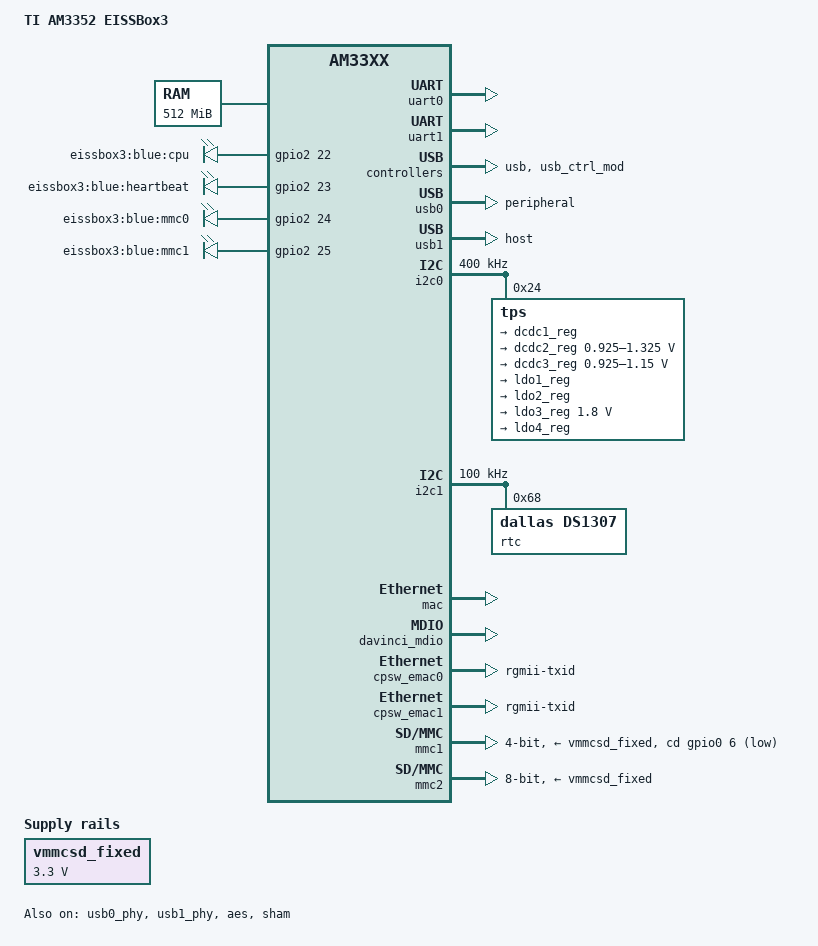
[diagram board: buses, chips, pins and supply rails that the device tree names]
/*
 * Copyright (C) 2012 Texas Instruments Incorporated - http://www.ti.com/
 *
 * This program is free software; you can redistribute it and/or modify
 * it under the terms of the GNU General Public License version 2 as
 * published by the Free Software Foundation.
 */
/dts-v1/;

#include "am33xx.dtsi"

/* YK - EISSBox3 is not a bone. No Cape Manager
 * Everything is in this file
#include "am335x-bone-common.dtsi"
*/

/ {
	model = "TI AM3352 EISSBox3";
	compatible = "ti,am335x-bone", "ti,am33xx";
	
	cpus {
		cpu@0 {
			cpu0-supply = <&dcdc2_reg>;
			operating-points = <
				/* kHz    uV */
				1000000 1350000
				800000  1300000
				720000  1285000
				600000  1225000
				500000  1125000
				275000  1125000
			>;
		};
	};
	
	chosen {
		stdin-path = &uart0;
		stdout-path = &uart0;
		/* tick-timer = &timer2; */
	};

	memory {
		device_type = "memory";
		reg = <0x80000000 0x20000000>; /* 512 MB */
	};

	leds {
		pinctrl-names = "default";
		pinctrl-0 = <&led_pins>;

		compatible = "gpio-leds";

		led0 {
			label = "eissbox3:blue:cpu";
			gpios = <&gpio2 22 GPIO_ACTIVE_HIGH>;
			linux,default-trigger = "cpu0";
			default-state = "on";
		};

		led1 {
			label = "eissbox3:blue:heartbeat";
			gpios = <&gpio2 23 GPIO_ACTIVE_HIGH>;
			linux,default-trigger = "heartbeat";
			default-state = "on";
		};

		led2 {
			label = "eissbox3:blue:mmc0";
			gpios = <&gpio2 24 GPIO_ACTIVE_HIGH>;
			linux,default-trigger = "mmc0";
			default-state = "on";
		};

		led3 {
			label = "eissbox3:blue:mmc1";
			gpios = <&gpio2 25 GPIO_ACTIVE_HIGH>;
			linux,default-trigger = "mmc1";
			default-state = "on";
		};
	};

	vmmcsd_fixed: fixedregulator@0 {
		compatible = "regulator-fixed";
		regulator-name = "vmmcsd_fixed";
		regulator-min-microvolt = <3300000>;
		regulator-max-microvolt = <3300000>;
	};

};


&am33xx_pinmux {
	dout_pins: pinmux_dout_pins {												
		pinctrl-single,pins = <												
			0xC0 (PIN_OUTPUT | MUX_MODE7) /* DOUT0, #78 */
			0xC4 (PIN_OUTPUT | MUX_MODE7) /* DOUT1, #79 */
			0xC8 (PIN_OUTPUT | MUX_MODE7) /* DOUT2, #80 */
			0xCC (PIN_OUTPUT | MUX_MODE7) /* DOUT3, #81 */
		>;												
	};												

	boot_pins: pinmux_boot_pins {											
		pinctrl-single,pins = <											
			0xA0 (PIN_INPUT | SLEWCTRL_FAST | MUX_MODE7) /* BOOT0, #70 */
			0xA4 (PIN_INPUT | SLEWCTRL_FAST | MUX_MODE7) /* BOOT1, #71 */
			0xA8 (PIN_INPUT | SLEWCTRL_FAST | MUX_MODE7) /* BOOT2, #72 */
			0xAC (PIN_INPUT | SLEWCTRL_FAST | MUX_MODE7) /* BOOT3, #73 */
			0xB0 (PIN_INPUT | SLEWCTRL_FAST | MUX_MODE7) /* BOOT4, #74 */
			0xB4 (PIN_INPUT | SLEWCTRL_FAST | MUX_MODE7) /* BOOT5, #75 */
			0xB8 (PIN_INPUT | SLEWCTRL_FAST | MUX_MODE7) /* BOOT6, #76 */
			0xBC (PIN_INPUT | SLEWCTRL_FAST | MUX_MODE7) /* BOOT7, #77 */
			0xD0 (PIN_INPUT | SLEWCTRL_FAST | MUX_MODE7) /* BOOT12, #8 */
			0xD4 (PIN_INPUT | SLEWCTRL_FAST | MUX_MODE7) /* BOOT13, #9 */
			0xD8 (PIN_INPUT | SLEWCTRL_FAST | MUX_MODE7) /* BOOT14, #10 */
			0xDC (PIN_INPUT | SLEWCTRL_FAST | MUX_MODE7) /* BOOT15, #11 */
		>;											
	};											

	led_pins: pinmux_userled_pins {
		pinctrl-single,pins = <											
			0xE0 (PIN_OUTPUT | MUX_MODE7) /* LED0, #86 */
			0xE4 (PIN_OUTPUT | MUX_MODE7) /* LED1, #87 */
			0xE8 (PIN_OUTPUT | MUX_MODE7) /* LED2, #88 */
			0xEC (PIN_OUTPUT | MUX_MODE7) /* LED3, #89 */
		>;											
	};											

	uart0_pins: pinmux_uart0_pins {
		pinctrl-single,pins = <
			0x170 (PIN_INPUT_PULLUP | MUX_MODE0)	/* uart0_rxd */
			0x174 (PIN_OUTPUT_PULLDOWN | MUX_MODE0)	/* uart0_txd */
		>;
	};

	rs485_pins: pinmux_rs485_pins {
		pinctrl-single,pins = <											
			0x180 (PIN_INPUT | SLEWCTRL_FAST | MUX_MODE0)  /* RS485 - uart1_rxd */
			0x184 (PIN_OUTPUT | SLEWCTRL_FAST | MUX_MODE0) /* RS485 - uart1_txd */
		>;											
	};											

	din_pins: pinmux_din_pins {
		pinctrl-single,pins = <											
			0x190 (PIN_INPUT_PULLDOWN | SLEWCTRL_FAST | MUX_MODE7) /* DIN0, #110 */
			0x194 (PIN_INPUT_PULLDOWN | SLEWCTRL_FAST | MUX_MODE7) /* DIN1, #111 */
			0x198 (PIN_INPUT_PULLDOWN | SLEWCTRL_FAST | MUX_MODE7) /* DIN2, #112 */
			0x19C (PIN_INPUT_PULLDOWN | SLEWCTRL_FAST | MUX_MODE7) /* DIN3, #113 */
			0x30  (PIN_INPUT_PULLDOWN | SLEWCTRL_FAST | MUX_MODE7) /* DIN4, #44 */
			0x34  (PIN_INPUT_PULLDOWN | SLEWCTRL_FAST | MUX_MODE7) /* DIN5, #45 */
			0x38  (PIN_INPUT_PULLDOWN | SLEWCTRL_FAST | MUX_MODE7) /* DIN6, #46 */
			0x3C  (PIN_INPUT_PULLDOWN | SLEWCTRL_FAST | MUX_MODE7) /* DIN7, #47 */
		>;											
	};

	relay_pins: pinmux_relay_pins {
		pinctrl-single,pins = <											
			0x90 (PIN_OUTPUT | SLEWCTRL_FAST | MUX_MODE7) /* Relay0, #66 */
			0x94 (PIN_OUTPUT | SLEWCTRL_FAST | MUX_MODE7) /* Relay1, #67 */
			0x98 (PIN_OUTPUT | SLEWCTRL_FAST | MUX_MODE7) /* Relay2, #68 */
			0x9C (PIN_OUTPUT | SLEWCTRL_FAST | MUX_MODE7) /* Relay3, #69 */
		>;											
	};											

	rtc_pins: pinmux_rtc_pins {
		pinctrl-single,pins = <											
			0x1B0 (PIN_OUTPUT | MUX_MODE7) /* RTC_INT, # - uses DS1307 driver for RTC */
		>;											
	};

	emu2_pins: pinmux_emu2_pins {
		pinctrl-single,pins = <											
			0x1A4 (PIN_INPUT_PULLUP | SLEWCTRL_FAST | MUX_MODE4) /* JTAG_EMU2, #115 */
		>;											
	};											

	clkout2_pin: pinmux_clkout2_pin {
		pinctrl-single,pins = <
			0x1B4 (PIN_OUTPUT_PULLDOWN | MUX_MODE3) /* clkout2 */
		>;
	};

	cpsw_default: cpsw_default {
		pinctrl-single,pins = <
			/* Slave 1 eth0 */

			/* 0x108 (PIN_INPUT | MUX_MODE0)		*/	/* mii1_col */
			/* 0x110 (PIN_INPUT_PULLUP | MUX_MODE0)	*/  /* mii1_rxerr */
			/* 0x10c (PIN_INPUT | MUX_MODE0)		*/	/* mii1_crs */
			
			0x114 (PIN_OUTPUT_PULLDOWN | MUX_MODE2)	/* rgmii1_tctl */
			0x118 (PIN_INPUT_PULLDOWN | MUX_MODE2)	/* rgmii1_rctl */
			0x11C (PIN_OUTPUT_PULLDOWN | MUX_MODE2)	/* rgmii1_td3 */
			0x120 (PIN_OUTPUT_PULLDOWN | MUX_MODE2)	/* rgmii1_td2 */
			0x124 (PIN_OUTPUT_PULLDOWN | MUX_MODE2)	/* rgmii1_td1 */
			0x128 (PIN_OUTPUT_PULLDOWN | MUX_MODE2)	/* rgmii1_td0 */
			0x12C (PIN_OUTPUT_PULLDOWN | MUX_MODE2)	/* rgmii1_tclk */
			0x130 (PIN_INPUT_PULLDOWN | MUX_MODE2)	/* rgmii1_rclk */
			0x134 (PIN_INPUT_PULLDOWN | MUX_MODE2)	/* rgmii1_rd3 */
			0x138 (PIN_INPUT_PULLDOWN | MUX_MODE2)	/* rgmii1_rd2 */
			0x13C (PIN_INPUT_PULLDOWN | MUX_MODE2)	/* rgmii1_rd1 */
			0x140 (PIN_INPUT_PULLDOWN | MUX_MODE2)	/* rgmii1_rd0 */

			/* Slave 2 eth1 */

			/* 0x70 (PULL_DISABLE | MUX_MODE1) */       /* mii2_crs */
			/* 0x74 (PIN_INPUT_PULLUP | MUX_MODE1) */   /* mii2_rxerr */
			/* 0x78 (PULL_DISABLE | MUX_MODE1) */       /* mii2_col */

			0x40 (PIN_OUTPUT_PULLDOWN | MUX_MODE2) /* rgmii2_tctl */
			0x44 (PIN_INPUT_PULLDOWN | MUX_MODE2)  /* rgmii2_rctl */
			0x48 (PIN_OUTPUT_PULLDOWN | MUX_MODE2) /* rgmii2_td3 */
			0x4C (PIN_OUTPUT_PULLDOWN | MUX_MODE2) /* rgmii2_td2 */
			0x50 (PIN_OUTPUT_PULLDOWN | MUX_MODE2) /* rgmii2_td1 */
			0x54 (PIN_OUTPUT_PULLDOWN | MUX_MODE2) /* rgmii2_td0 */
			0x58 (PIN_OUTPUT_PULLDOWN | MUX_MODE2) /* rgmii2_tclk */
			0x5C (PIN_INPUT_PULLDOWN | MUX_MODE2)  /* rgmii2_rclk */
			0x60 (PIN_INPUT_PULLDOWN | MUX_MODE2)  /* rgmii2_rd3 */
			0x64 (PIN_INPUT_PULLDOWN | MUX_MODE2)  /* rgmii2_rd2 */
			0x68 (PIN_INPUT_PULLDOWN | MUX_MODE2)  /* rgmii2_rd1 */
			0x6C (PIN_INPUT_PULLDOWN | MUX_MODE2)  /* rgmii2_rd0 */
		>;
	};

	cpsw_sleep: cpsw_sleep {
		pinctrl-single,pins = <
			/* Slave 1 eth0 reset value */

			/* 0x108 (PIN_INPUT_PULLDOWN | MUX_MODE7) */
			/* 0x110 (PIN_INPUT_PULLDOWN | MUX_MODE7) */
			/* 0x10c (PIN_INPUT_PULLDOWN | MUX_MODE7) */

			0x114 (PIN_INPUT_PULLDOWN | MUX_MODE7)
			0x118 (PIN_INPUT_PULLDOWN | MUX_MODE7)
			0x11c (PIN_INPUT_PULLDOWN | MUX_MODE7)
			0x120 (PIN_INPUT_PULLDOWN | MUX_MODE7)
			0x124 (PIN_INPUT_PULLDOWN | MUX_MODE7)
			0x128 (PIN_INPUT_PULLDOWN | MUX_MODE7)
			0x12c (PIN_INPUT_PULLDOWN | MUX_MODE7)
			0x130 (PIN_INPUT_PULLDOWN | MUX_MODE7)
			0x134 (PIN_INPUT_PULLDOWN | MUX_MODE7)
			0x138 (PIN_INPUT_PULLDOWN | MUX_MODE7)
			0x13c (PIN_INPUT_PULLDOWN | MUX_MODE7)
			0x140 (PIN_INPUT_PULLDOWN | MUX_MODE7)

			/* Slave 2 eth0 reset value*/

			/* 0x70 (PIN_INPUT_PULLDOWN | MUX_MODE7) */
			/* 0x74 (PIN_INPUT_PULLDOWN | MUX_MODE7) */
			/* 0x78 (PIN_INPUT_PULLDOWN | MUX_MODE7) */

			0x40 (PIN_INPUT_PULLDOWN | MUX_MODE7)
			0x44 (PIN_INPUT_PULLDOWN | MUX_MODE7)
			0x48 (PIN_INPUT_PULLDOWN | MUX_MODE7)
			0x4c (PIN_INPUT_PULLDOWN | MUX_MODE7)
			0x50 (PIN_INPUT_PULLDOWN | MUX_MODE7)
			0x54 (PIN_INPUT_PULLDOWN | MUX_MODE7)
			0x58 (PIN_INPUT_PULLDOWN | MUX_MODE7)
			0x5c (PIN_INPUT_PULLDOWN | MUX_MODE7)
			0x60 (PIN_INPUT_PULLDOWN | MUX_MODE7)
			0x64 (PIN_INPUT_PULLDOWN | MUX_MODE7)
			0x68 (PIN_INPUT_PULLDOWN | MUX_MODE7)
			0x6c (PIN_INPUT_PULLDOWN | MUX_MODE7)
		>;
	};

	davinci_mdio_default: davinci_mdio_default {
		pinctrl-single,pins = <
			/* MDIO */
			0x148 (PIN_INPUT_PULLUP | SLEWCTRL_FAST | MUX_MODE0) /* mdio_data */
			0x14C (PIN_OUTPUT_PULLUP | MUX_MODE0)                /* mdio_clk */
		>;
	};

	davinci_mdio_sleep: davinci_mdio_sleep {
		pinctrl-single,pins = <
			/* MDIO reset value */
			0x148 (PIN_INPUT_PULLDOWN | MUX_MODE7)
			0x14C (PIN_INPUT_PULLDOWN | MUX_MODE7)
		>;
	};

	test_pins: pinmux_test_pins {
		pinctrl-single,pins = <											
			0x1A0 (PIN_INPUT_PULLDOWN | SLEWCTRL_FAST | MUX_MODE7) /* TP41, #114 */
			0x1AC (PIN_INPUT_PULLDOWN | SLEWCTRL_FAST | MUX_MODE7) /* TP36, #117 */
			0x154 (PIN_INPUT_PULLDOWN | SLEWCTRL_FAST | MUX_MODE7) /* TP32, #3 */
			0x150 (PIN_INPUT_PULLDOWN | SLEWCTRL_FAST | MUX_MODE7) /* TP31, #2 */
			0x16C (PIN_INPUT_PULLDOWN | SLEWCTRL_FAST | MUX_MODE7) /* TP33, #41 */
			0x178 (PIN_INPUT_PULLDOWN | SLEWCTRL_FAST | MUX_MODE7) /* TP34, #12 i2c2!! */
			0x17C (PIN_INPUT_PULLDOWN | SLEWCTRL_FAST | MUX_MODE7) /* TP35, #13 i2c2!! */
			0x120 (PIN_INPUT_PULLDOWN | SLEWCTRL_FAST | MUX_MODE7) /* TP23, #22 */
			0x124 (PIN_INPUT_PULLDOWN | SLEWCTRL_FAST | MUX_MODE7) /* TP24, #23 */
			0x128 (PIN_INPUT_PULLDOWN | SLEWCTRL_FAST | MUX_MODE7) /* TP25, #26 */
			0x12C (PIN_INPUT_PULLDOWN | SLEWCTRL_FAST | MUX_MODE7) /* TP26, #27 */
			0x188 (PIN_INPUT_PULLDOWN | SLEWCTRL_FAST | MUX_MODE7) /* TP29, #64 */
		>;											
	};											

	i2c0_pins: pinmux_i2c0_pins {
		pinctrl-single,pins = <
			0x188 (PIN_INPUT_PULLUP | MUX_MODE0) /* i2c0_sda */
			0x18C (PIN_INPUT_PULLUP | MUX_MODE0) /* i2c0_scl */
		>;
	};

	i2c1_pins: pinmux_i2c1_pins {
		pinctrl-single,pins = <
			0x158 (PIN_INPUT_PULLUP | MUX_MODE2) /* i2c1_sda */
			0x15C (PIN_INPUT_PULLUP | MUX_MODE2) /* i2c1_scl */
		>;
	};

/*
	i2c2_pins: pinmux_i2c2_pins {
		pinctrl-single,pins = <
			0x178 (PIN_INPUT_PULLUP | MUX_MODE3) /* i2c2_sda */
/*			0x17C (PIN_INPUT_PULLUP | MUX_MODE3) /* i2c2_scl */
/*		>;
	};
*/
	emmc_rst_pins: pinmux_emmc_rst_pins {
		pinctrl-single,pins = <											
			0x7C (PIN_OUTPUT | SLEWCTRL_FAST | MUX_MODE7) /* EMMC_RST_INT, #61 */
		>;											
	};											

	emmc_pins: pinmux_emmc_pins {
		pinctrl-single,pins = <
			0x80 (PIN_INPUT_PULLUP | SLEWCTRL_FAST | MUX_MODE2) /* mmc1_clk */
			0x84 (PIN_INPUT_PULLUP | SLEWCTRL_FAST | MUX_MODE2) /* mmc1_cmd */
			0x00 (PIN_INPUT_PULLUP | SLEWCTRL_FAST | MUX_MODE1) /* mmc1_dat0 */
			0x04 (PIN_INPUT_PULLUP | SLEWCTRL_FAST | MUX_MODE1) /* mmc1_dat1 */
			0x08 (PIN_INPUT_PULLUP | SLEWCTRL_FAST | MUX_MODE1) /* mmc1_dat2 */
			0x0C (PIN_INPUT_PULLUP | SLEWCTRL_FAST | MUX_MODE1) /* mmc1_dat3 */
			0x10 (PIN_INPUT_PULLUP | SLEWCTRL_FAST | MUX_MODE1) /* mmc1_dat4 */
			0x14 (PIN_INPUT_PULLUP | SLEWCTRL_FAST | MUX_MODE1) /* mmc1_dat5 */
			0x18 (PIN_INPUT_PULLUP | SLEWCTRL_FAST | MUX_MODE1) /* mmc1_dat6 */
			0x1C (PIN_INPUT_PULLUP | SLEWCTRL_FAST | MUX_MODE1) /* mmc1_dat7 */
		>;
	};

	sdcard_pins: pinmux_mmc1_pins {
		pinctrl-single,pins = <
			0x100 (PIN_INPUT | MUX_MODE0) /* mmc0_clk */
			0x104 (PIN_INPUT | MUX_MODE0) /* mmc0_cmd */
			0xF0  (PIN_INPUT | MUX_MODE0) /* mmc0_dat0 */
			0xF4  (PIN_INPUT | MUX_MODE0) /* mmc0_dat1 */
			0xF8  (PIN_INPUT | MUX_MODE0) /* mmc0_dat2 */
			0xFC  (PIN_INPUT | MUX_MODE0) /* mmc0_dat3 */
			0x160 (PIN_INPUT | MUX_MODE7) /* uSD, GPIO0_6 */
		>;
	};

};

&rtc {
	status = "disabled";
};

&uart0 {
	pinctrl-names = "default";
	pinctrl-0 = <&uart0_pins>;
	status = "okay";
};

&uart1 {
	pinctrl-names = "default";
	pinctrl-0 = <&rs485_pins>;
	status = "okay";
};

&usb {
	status = "okay";
};

&usb_ctrl_mod {
	status = "okay";
};

&usb0_phy {
	status = "okay";
};

&usb1_phy {
	status = "okay";
};

&usb0 {
	status = "okay";
	dr_mode = "peripheral";
	interrupts-extended = <&intc 18 &tps 0>;
	interrupt-names = "mc", "vbus";
};

&usb1 {
	status = "okay";
	dr_mode = "host";
};

&cppi41dma  {
	status = "okay";
};

&i2c0 {
	status = "okay";
	clock-frequency = <400000>;
	pinctrl-names = "default";
	pinctrl-0 = <&i2c0_pins>;

	tps: tps@24 {
		reg = <0x24>;
	};
};

&i2c1 {
	status = "okay";
	clock-frequency = <100000>;
	pinctrl-names = "default";
	pinctrl-0 = <&i2c1_pins>;

	rtc@68 {
		compatible = "dallas,ds1307"; /* DS1307 RTC module */
		reg = <0x68>;
	};
};

&i2c2 {
	status = "disabled";
};

/*
 * eth0, eth1
 */
&mac {
	status = "okay";
	pinctrl-names = "default", "sleep";
	pinctrl-0 = <&cpsw_default>;
	pinctrl-1 = <&cpsw_sleep>;
	dual_emac;
};

&davinci_mdio {
	status = "okay";
	pinctrl-names = "default", "sleep";
	pinctrl-0 = <&davinci_mdio_default>;
	pinctrl-1 = <&davinci_mdio_sleep>;
};

&cpsw_emac0 {
	phy_id = <&davinci_mdio>, <0>;
	phy-mode = "rgmii-txid";
	dual_emac_res_vlan = <1>;
};

&cpsw_emac1 {
	phy_id = <&davinci_mdio>, <1>;
	phy-mode = "rgmii-txid";
	dual_emac_res_vlan = <2>;
};

/*
 * uSD Card
 */
&mmc1 {
	status = "okay";
	vmmc-supply = <&vmmcsd_fixed>;
	pinctrl-names = "default";
	pinctrl-0 = <&sdcard_pins>;
	bus-width = <0x4>;
	cd-gpios = <&gpio0 6 GPIO_ACTIVE_LOW>;
};

/*
 * eMMC
 */
&mmc2 {
	status = "okay";
	vmmc-supply = <&vmmcsd_fixed>;
	pinctrl-names = "default";
	pinctrl-0 = <&emmc_pins>;
	bus-width = <8>;
	ti,non-removable;
};

&aes {
	status = "okay";
};

&sham {
	status = "okay";
};

/include/ "tps65217.dtsi"

&tps {
	/*
	 * Configure pmic to enter OFF-state instead of SLEEP-state ("RTC-only
	 * mode") at poweroff.  Most BeagleBone versions do not support RTC-only
	 * mode and risk hardware damage if this mode is entered.
	 *
	 * For details, see linux-omap mailing list May 2015 thread
	 *	[PATCH] ARM: dts: am335x-bone* enable pmic-shutdown-controller
	 * In particular, messages:
	 *	http://www.spinics.net/lists/linux-omap/msg118585.html
	 *	http://www.spinics.net/lists/linux-omap/msg118615.html
	 *
	 * You can override this later with
	 *	&tps {  /delete-property/ ti,pmic-shutdown-controller;  }
	 * if you want to use RTC-only mode and made sure you are not affected
	 * by the hardware problems. (Tip: double-check by performing a current
	 * measurement after shutdown: it should be less than 1 mA.)
	 */
	interrupt-parent = <&intc>;
	interrupts = <7>; /* NNMI */

	ti,pmic-shutdown-controller;

	pwrbutton {
		interrupts = <2>;
		status = "okay";
	};

	regulators {
		dcdc1_reg: regulator@0 {
			regulator-name = "vdds_dpr";
			regulator-always-on;
		};

		dcdc2_reg: regulator@1 {
			/* VDD_MPU voltage limits 0.95V - 1.26V with +/-4% tolerance */
			regulator-name = "vdd_mpu";
			regulator-min-microvolt = <925000>;
			regulator-max-microvolt = <1325000>;
			regulator-boot-on;
			regulator-always-on;
		};

		dcdc3_reg: regulator@2 {
			/* VDD_CORE voltage limits 0.95V - 1.1V with +/-4% tolerance */
			regulator-name = "vdd_core";
			regulator-min-microvolt = <925000>;
			regulator-max-microvolt = <1150000>;
			regulator-boot-on;
			regulator-always-on;
		};

		ldo1_reg: regulator@3 {
			regulator-name = "vio,vrtc,vdds";
			regulator-always-on;
		};

		ldo2_reg: regulator@4 {
			regulator-name = "vdd_3v3aux";
			regulator-always-on;
		};

		ldo3_reg: regulator@5 {
			regulator-name = "vdd_1v8";
			regulator-min-microvolt = <1800000>;
			regulator-max-microvolt = <1800000>;
			regulator-always-on;
		};

		ldo4_reg: regulator@6 {
			regulator-name = "vdd_3v3a";
			regulator-always-on;
		};
	};
};
